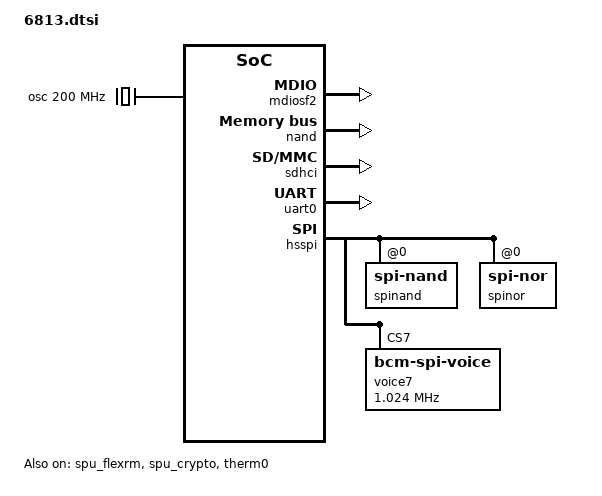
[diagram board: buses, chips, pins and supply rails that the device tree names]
/dts-v1/;

#include "linux_autoconf.h"

/* bootstrap reserved memory */
#include "../boot_rsvdmem.dtsi"


/ {
	/* arch */
	#define PMU_CORE0_SPI	7
	#define PMU_CORE1_SPI	8
	#define PMU_CORE2_SPI	9
	#define PMU_CORE3_SPI	10
	#include "../ip/bcm_b53_quad.dtsi"

	/* clocks */
	#define PERIPH_CLK		200000000
	#define HS_SPI_PLL_CLK	200000000
	#include "../ip/bcm_clocks.dtsi"

	/* broadcom memory reservations */
	#include "../bcm_rsvdmem.dtsi"

	/* memc */
	memory_controller {
		#define BP_DDR_6813_DEFAULT	BP_DDR_SSC_CONFIG_1

		#define MEMC_REG_NAMES	"memc-int-clear-reg",	\
					"memc-int-mask-clear-reg",\
					"phyctl_idle_pad_ctl",	\
					"phyctl_idle_pad_en0",	\
					"phyctl_idle_pad_en1",	\
					"phybl0_idle_pad_ctl",	\
					"phybl1_idle_pad_ctl",	\
					"phybl0_clock_idle",	\
					"phybl1_clock_idle",	\
					"auto_self_refresh",	\
					"glb_gcfg"

		#define MEMC_REG	<0 0x80040E28 0 4>,	\
					<0 0x80040E34 0 4>,	\
					<0 0x80060200 0 4>,	\
					<0 0x80060204 0 4>,	\
					<0 0x80060208 0 4>,	\
					<0 0x8006071c 0 4>,	\
					<0 0x8006091c 0 4>,	\
					<0 0x8006073c 0 4>,	\
					<0 0x8006093c 0 4>,	\
					<0 0x8004000c 0 4>,	\
					<0 0x80040008 0 4>

		#define MEMC_CPU_INT_LINE		19

		#include "../ip/memc.dtsi"
	};

	aliases {
		serial0 = &uart0;
		serial3 = &uart3;
		spi1 = &hsspi; /* 0 = legacy, 1 = high speed */
		spinand0 = &spinand;
		spinor0 = &spinor;		
		nand0 = &nand;
		hs_serial0 = &hs_uart0;
	};

	chosen {
		stdout-path = "serial0:115200n8";
		/* increase coherent_pool size */
		bootargs = "coherent_pool=4M cpuidle_sysfs_switch pci=pcie_bus_safe console=ttyAMA0,115200  rootwait rng_core.default_quality=1024";
	};

	/* wan type auto detect */
	wantype_detect {
		#define GPON_GENERAL_CONFIG_ADDR    0x0 0x828E1000
		#define GPON_GENERAL_CONFIG_SIZE    0x0 0x10
		#define EPON_TOP_ADDR               0x0 0x828C0000
		#define EPON_TOP_SIZE               0x0 0x1C
		#define EPON_LIF_ADDR               0x0 0x828C1800
		#define EPON_LIF_SIZE               0x0 0x110
		#define EPON_XPCSR_ADDR	            0x0 0x828C3000
		#define EPON_XPCSR_SIZE	            0x0 0x124
		#define NGPON_RXGEN_ADDR            0x0 0x828E4000
		#define NGPON_RXGEN_SIZE            0x0 0x80
		#include "../ip/bcm_wantype_detect.dtsi"
	};

	misc_io {
		compatible = "brcm,misc-io";
		misc-periph-int-ctrl = <0x0 0xFF80260C 0x0 0x4>;
		sdio-emmc-clk-sel-mask = <0x00010000>;
		misc-emmc-cktap-ctrl = <0x0 0xFF80264C 0x0 0x18>;

		misc-periph-chip-id-rev = <0x0 0xff800000 0x0 0x4>;
		misc-periph-chip-id-mask = <0xfffff000>;
		misc-periph-chip-id-shift = <12>;
		misc-periph-chip-rev-mask = <0xfff>;
	};

	/* PMC */
	pmc: pmc {
		#define PMC_REG_OFFSET              0x0 0xffb01018
		#define PMC_REG_SIZE                0x0 0x5080
		#define PROCMON_REG_OFFSET          0x0 0xffb20000
		#define PROCMON_REG_SIZE            0x0 0x240
		#define MAESTRO_REG_OFFSET          0x0 0xffb00400
		#define MAESTRO_REG_SIZE            0x0 0x5d0
		#define MAESTRO_DTCM_REG_OFFSET     0x0 0xffb80000
		#define MAESTRO_DTCM_REG_SIZE       0x0 0x1000
		#define MAESTRO_ITCM_REG_OFFSET     0x0 0xffbc0000
		#define MAESTRO_ITCM_REG_SIZE       0x0 0x4000
		#include "../ip/bcm_pmc_3_2.dtsi"
		interrupt-names = "pmc-temp-irq";
		interrupts = <GIC_SPI 29 IRQ_TYPE_LEVEL_HIGH>;
	};

	cci: cci {
		#define CCI_OFFSET					0x0 0x81100000
		#define CCI_SIZE					0x0 0x8000
		#define SLAVEINTF_CPU_NUM			1
		#include "../ip/bcm_arm_cci500.dtsi"
	};

#if defined(CONFIG_BCM_PCIE_HCD) || defined(CONFIG_BCM_PCIE_HCD_MODULE)
		/* pcie 1 & 3 share same clock */
		#define PCIEC_PLLCLKID      0x1210
		/* PCIe#1 GEN3 port (includes G3 PLL registers) */
		#define PCIE1_REG_SIZE      0xB000

	/* pcie common */
	pcie: pciec {
		compatible = "brcm,bcm-pcie";
		device_type = "cpci";

		brcm,pllclkid = <PCIEC_PLLCLKID>;
	};

	/* pcie core 0 */
	pcie0: pcie@0 {
		#define PCIE_ID				0
		#define PCIE_SPI			68
		#define PCIE_ADDR			0x80080000
		#define PCIE_SIZE			0x0000A000
		#define PCIE_RANGE_ADDR		0xC0000000
		#define PCIE_RANGE_SIZE		0x10000000
		#include "../ip/bcm_pcie_core.dtsi"
	};
	/* pcie core 1 */
	pcie1: pcie@1 {
		#define PCIE_ID				1
		#define PCIE_SPI			69
		#define PCIE_ADDR			0x80090000
		#define PCIE_SIZE			PCIE1_REG_SIZE
		#define PCIE_RANGE_ADDR		0xD0000000
		#define PCIE_RANGE_SIZE		0x10000000
		#include "../ip/bcm_pcie_core.dtsi"
	};
	/* pcie core 2 */
	pcie2: pcie@2 {
		#define PCIE_ID				2
		#define PCIE_SPI			70
		#define PCIE_ADDR			0x800A0000
		#define PCIE_SIZE			0x0000A000
		#define PCIE_RANGE_ADDR		0xE0000000
		#define PCIE_RANGE_SIZE		0x10000000
		#include "../ip/bcm_pcie_core.dtsi"
	};
	/* pcie core 3 */
	pcie3: pcie@3 {
		#define PCIE_ID				3
		#define PCIE_SPI			71
		#define PCIE_ADDR			0x800B0000
		#define PCIE_SIZE			0x0000B000
		#define PCIE_RANGE_ADDR		0xA0000000
		#define PCIE_RANGE_SIZE		0x20000000
		#include "../ip/bcm_pcie_core.dtsi"
		brcm,strap-pcie-rc-mode=<6 1>;
	};
#endif /* defined(CONFIG_BCM_PCIE_HCD) || defined(CONFIG_BCM_PCIE_HCD_MODULE) */

#if (defined(CONFIG_BCM_FLEXRM) || defined(CONFIG_BCM_FLEXRM_MODULE)) && \
    (defined(CONFIG_BCM_SPU) || defined(CONFIG_BCM_SPU_MODULE))
	/* spu */
	#define SPU_DMA_ADDR			0x00000000 0x83800000
	#define SPU_DMA_SIZE			0x00000000 0x400000
	#define SPU_DMA_NUM_CHAN		4
	#define SPU_DMA_NUM_AE			2
	#define SPU_CRYPTO_ADDR			0x00000000 0x83800000
	#define SPU_CRYPTO_SIZE			0x00000000 0x400000
	#define SPU_GMAC_SPI			58
	#include "../ip/bcm_spu.dtsi"
#endif

	/* usb */
	usb_ctrl: usb_ctrl {
		#define USB_CTRL_ADDR       0x0 0x800CF200
		#define USB_CTRL_SIZE       0x0 0x128
		#include "../ip/bcm_usb_ctrl.dtsi"
	};

	usb0_xhci: usb0_xhci {
		#define USB_ADDR            0x0 0x800C0000
		#define USB_SIZE            0x0 0x484
		#define GBL_ADDR            0x0 0x800CC100
		#define GBL_SIZE            0x0 0x544
		#define USB_IRQ             73
		#include "../ip/bcm_usb_xhci.dtsi"
		xhci-no-companion;
	};

	serdes {
		compatible = "brcm,serdes1";
		reg = <0x0 0x837ff500 0x0 0x300>;
	};

	swblks {
		compatible = "brcm,swblks";
		reg-names = "bcast-ctrl",
					"qphy-ctrl";

		reg = 	<0 0x837ff000 0 0x4>,
				<0 0x837ff014 0 0x4>;
		phy_base = <0x1>;
	};

	xport {
		compatible = "brcm,xport";
		reg = <0x0 0x837f0000 0x0 0x8000>,  /* XPORT base */
			<0x0 0x828b2000 0x0 0x1000>,  /* XLIF base */
			<0x0 0x837ff1f8 0x0 0x0004>;  /* XPORT0_CLK_CTRL */
	};

	unimac {
		compatible = "brcm,unimac3";
		reg = <0x0 0x828a8000 0x0 0x5000>,
		      <0x0 0x828b0000 0x0 0x1400>;
		conf_offset = <0x1000>;
		mib_offset = <0x400>;
		top_offset = <0x400>;
	};

	xlmac {
		compatible = "brcm,xlmac1";
		reg = <0x0 0x828b2000 0x0 0x0680>,  /* XLMAC_BASE */
		      <0x0 0x82890000 0x0 0x6b88>;  /* BBH_TX_BASE */
		xlmac_offset = <0x200>;
		bbh_tx_offset = <0x2000>;
	};

	ethphytop:ethphytop {
		compatible = "brcm,eth-phy-top";
		reg = <0x0 0x837ff000 0x0 0x1000>;
		xphy0-addr = <0x9>;
		status = "disabled";
	};

	egphy {
		compatible = "brcm,egphy";
		reg = <0x0 0x837FF00C 0x0 0x20>;
	};

	mdiosf2 {
		compatible = "brcm,mdio-sf2";
		reg = <0x0 0x837FFD00 0x0 0x10>,
		      <0x0 0xff85a024 0x0 0x4>;
	};

	mpm {
		#define MPM_REG_OFFSET	0x80020000
		#define MPM_REG_SIZE	0x4000
		#include "../ip/bcm_mpm.dtsi"
	};

	mpcs:mpcs{
		compatible = "brcm,mpcs";
		reg = <0x0 0x828C4000 0x0 0x100>;
	};

	gpon_drv {
		compatible = "brcm,gpon-drv";
		reg = <0x0 0x828E0000  0x0 0x4000>;
                interrupts = <GIC_SPI 141 IRQ_TYPE_LEVEL_HIGH>, /* INTERRUPT_WAN_GPON_RX */
                             <GIC_SPI 140 IRQ_TYPE_LEVEL_HIGH>; /* INTERRUPT_WAN_GPON_TX */
                interrupt-names = "gpon_rx", "gpon_tx";
	};
	ngpon_drv {
		compatible = "brcm,ngpon-drv";
		reg = <0x0 0x828E4000 0x0 0x1c000>;
                interrupts = <GIC_SPI 129  IRQ_TYPE_LEVEL_HIGH>, /* INTERRUPT_WAN_XGRX */
                             <GIC_SPI 133  IRQ_TYPE_LEVEL_HIGH>, /* INTERRUPT_WAN_XGTX_INTR0 */
                             <GIC_SPI 132  IRQ_TYPE_LEVEL_HIGH>, /* INTERRUPT_WAN_XGTX_INTR1 */
                             <GIC_SPI 131  IRQ_TYPE_LEVEL_HIGH>; /* INTERRUPT_WAN_XGTX_INTR2 */
                interrupt-names = "ngpon_rx", "ngpon_tx0", "ngpon_tx1", "ngpon_tx2";
	};
	wan_serdes {
		compatible = "brcm,pon-drv";
		status = "disabled";
		reg = <0x0 0x828C4000 0x0 0x1c000>;
	};
	epon_drv {
		compatible = "brcm,epon-drv";
		reg = <0x0 0x828C0000 0x0 0x4000>;
	};

	rdpa_drv {
		compatible = "brcm,rdpa";
		reg = <0x0 0x82000000 0x0 0xCAF004>;
                interrupts = <GIC_SPI 107 IRQ_TYPE_LEVEL_HIGH>, /* INTERRUPT_XRDP_FPM */
                             <GIC_SPI 75  IRQ_TYPE_LEVEL_HIGH>, /* INTERRUPT_XRDP_QUEUE_0 */
                             <GIC_SPI 76  IRQ_TYPE_LEVEL_HIGH>, /* INTERRUPT_XRDP_QUEUE_1 */
                             <GIC_SPI 77  IRQ_TYPE_LEVEL_HIGH>, /* INTERRUPT_XRDP_QUEUE_2 */
                             <GIC_SPI 78  IRQ_TYPE_LEVEL_HIGH>, /* INTERRUPT_XRDP_QUEUE_3 */
                             <GIC_SPI 79  IRQ_TYPE_LEVEL_HIGH>, /* INTERRUPT_XRDP_QUEUE_4 */
                             <GIC_SPI 80  IRQ_TYPE_LEVEL_HIGH>, /* INTERRUPT_XRDP_QUEUE_5 */
                             <GIC_SPI 81  IRQ_TYPE_LEVEL_HIGH>, /* INTERRUPT_XRDP_QUEUE_6 */
                             <GIC_SPI 82  IRQ_TYPE_LEVEL_HIGH>, /* INTERRUPT_XRDP_QUEUE_7 */
                             <GIC_SPI 83  IRQ_TYPE_LEVEL_HIGH>, /* INTERRUPT_XRDP_QUEUE_8 */
                             <GIC_SPI 84  IRQ_TYPE_LEVEL_HIGH>, /* INTERRUPT_XRDP_QUEUE_9 */
                             <GIC_SPI 85  IRQ_TYPE_LEVEL_HIGH>, /* INTERRUPT_XRDP_QUEUE_10 */
                             <GIC_SPI 86  IRQ_TYPE_LEVEL_HIGH>, /* INTERRUPT_XRDP_QUEUE_11 */
                             <GIC_SPI 87  IRQ_TYPE_LEVEL_HIGH>, /* INTERRUPT_XRDP_QUEUE_12 */
                             <GIC_SPI 88  IRQ_TYPE_LEVEL_HIGH>, /* INTERRUPT_XRDP_QUEUE_13 */
                             <GIC_SPI 89  IRQ_TYPE_LEVEL_HIGH>, /* INTERRUPT_XRDP_QUEUE_14 */
                             <GIC_SPI 90  IRQ_TYPE_LEVEL_HIGH>, /* INTERRUPT_XRDP_QUEUE_15 */
                             <GIC_SPI 91  IRQ_TYPE_LEVEL_HIGH>, /* INTERRUPT_XRDP_QUEUE_16 */
                             <GIC_SPI 92  IRQ_TYPE_LEVEL_HIGH>, /* INTERRUPT_XRDP_QUEUE_17 */
                             <GIC_SPI 93  IRQ_TYPE_LEVEL_HIGH>, /* INTERRUPT_XRDP_QUEUE_18 */
                             <GIC_SPI 94  IRQ_TYPE_LEVEL_HIGH>, /* INTERRUPT_XRDP_QUEUE_19 */
                             <GIC_SPI 95  IRQ_TYPE_LEVEL_HIGH>, /* INTERRUPT_XRDP_QUEUE_20 */
                             <GIC_SPI 96  IRQ_TYPE_LEVEL_HIGH>, /* INTERRUPT_XRDP_QUEUE_21 */
                             <GIC_SPI 97  IRQ_TYPE_LEVEL_HIGH>, /* INTERRUPT_XRDP_QUEUE_22 */
                             <GIC_SPI 98  IRQ_TYPE_LEVEL_HIGH>, /* INTERRUPT_XRDP_QUEUE_23 */
                             <GIC_SPI 99  IRQ_TYPE_LEVEL_HIGH>, /* INTERRUPT_XRDP_QUEUE_24 */
                             <GIC_SPI 100 IRQ_TYPE_LEVEL_HIGH>, /* INTERRUPT_XRDP_QUEUE_25 */
                             <GIC_SPI 101 IRQ_TYPE_LEVEL_HIGH>, /* INTERRUPT_XRDP_QUEUE_26 */
                             <GIC_SPI 102 IRQ_TYPE_LEVEL_HIGH>, /* INTERRUPT_XRDP_QUEUE_27 */
                             <GIC_SPI 103 IRQ_TYPE_LEVEL_HIGH>, /* INTERRUPT_XRDP_QUEUE_28 */
                             <GIC_SPI 104 IRQ_TYPE_LEVEL_HIGH>, /* INTERRUPT_XRDP_QUEUE_29 */
                             <GIC_SPI 105 IRQ_TYPE_LEVEL_HIGH>, /* INTERRUPT_XRDP_QUEUE_30 */
                             <GIC_SPI 106 IRQ_TYPE_LEVEL_HIGH>; /* INTERRUPT_XRDP_QUEUE_31 */
                interrupt-names = "fpm", "queue0", "queue1", "queue2", "queue3", "queue4", "queue5",
                             "queue6", "queue7", "queue8", "queue9", "queue10", "queue11", 
                             "queue12", "queue13", "queue14", "queue15", "queue16", "queue17",
                             "queue18", "queue19", "queue20", "queue21", "queue22", "queue23",
                             "queue24", "queue25", "queue26", "queue27", "queue28", "queue29",
                             "queue30", "queue31";
	};

	xrdp {
		compatible = "simple-bus";
		#address-cells = <2>;
		#size-cells = <2>;
		ranges = <0x0 0x0 0x0 0x82000000 0x0 0xcd0000
			  0x1 0x0 0x0 0xff800000 0x0 0x62000>;

		mdio: mdio {
			compatible = "simple-bus";
			bus-type = "DSL_ETHSW";

			#address-cells = <1>;
			#size-cells = <0>;

			/* Port PHY mapping:
			 * port_gphy0 <----> phy_gphy0
			 * port_gphy1 <----> phy_gphy1
			 * port_gphy2 <----> phy_gphy2
			 * port_gphy3 <----> phy_gphy3
			 * port_xphy <-----> phy_xphy
			 * port_sgmii1 <---> phy_serdes0   - phy_cascade0
			 * port_sgmii2 <---> phy_serdes1   - phy_cascade1
			 * port_sgmii2_1 <-> phy_serdes1_1 - phy_cascade1_1
			 * port_sgmii2_2 <-> phy_serdes1_2 - phy_cascade1_2
			 * port_sgmii2_3 <-> phy_serdes1_3 - phy_cascade1_3
			 */
			phy_gphy0:phy_gphy0 {
				compatible = "brcm,bcaphy";
				phy-type = "EGPHY";
				reg = <1>;
				status = "disabled";
			};

			phy_gphy1:phy_gphy1 {
				compatible = "brcm,bcaphy";
				phy-type = "EGPHY";
				reg = <2>;
				status = "disabled";
			};

			phy_gphy2:phy_gphy2 {
				compatible = "brcm,bcaphy";
				phy-type = "EGPHY";
				reg = <3>;
				status = "disabled";
			};

			phy_gphy3:phy_gphy3 {
				compatible = "brcm,bcaphy";
				phy-type = "EGPHY";
				reg = <4>;
				status = "disabled";
			};


			phy_xphy:phy_xphy {
				compatible = "brcm,bcaphy";
				phy-type = "EXT3";
				reg = <9>;
				status = "disabled";

				pinctrl-names = "default";
				pinctrl-0 = <&a_mdc_pin_54 &a_mdio_pin_55>;
			};

			phy_cascade0:phy_cascade0 {
				compatible = "brcm,bcaphy";
				phy-type = "EXT3";
				reg = <21>;
				status = "disabled";
				phy-external;
			};

			phy_serdes0:phy_serdes0 {
				compatible = "brcm,bcaphy";
				phy-type = "10GAE";
				reg = <7>;
				serdes-core = <0>;
				serdes-lane = <0>;
				status = "disabled";
			};

			phy_cascade1:phy_cascade1 {
				compatible = "brcm,bcaphy";
				phy-type = "EXT3";
				mphy-index = <0>;
				reg = <12>;
				status = "disabled";
				phy-external;
			};

			phy_cascade1_1:phy_cascade1_1 {
				compatible = "brcm,bcaphy";
				phy-type = "EXT3";
				mphy-index = <1>;
				reg = <13>;
				status = "disabled";
				phy-external;
			};

			phy_cascade1_2:phy_cascade1_2 {
				compatible = "brcm,bcaphy";
				phy-type = "EXT3";
				mphy-index = <2>;
				reg = <14>;
				status = "disabled";
				phy-external;
			};

			phy_cascade1_3:phy_cascade1_3 {
				compatible = "brcm,bcaphy";
				phy-type = "EXT3";
				mphy-index = <3>;
				reg = <15>;
				status = "disabled";
				phy-external;
			};

			phy_serdes1:phy_serdes1 {
				compatible = "brcm,bcaphy";
				phy-type = "10GAE";
				reg = <8>;
				mphy-index = <0>;
				serdes-core = <1>;
				serdes-lane = <0>;
				status = "disabled";
			};

			phy_serdes1_1:phy_serdes1_1 {
				compatible = "brcm,bcaphy";
				phy-type = "10GAE";
				mphy-index = <1>;
				reg = <0x108>;          /* virtual addr mphy base 8 instance 1 */
				serdes-core = <1>;
				serdes-lane = <0>;
				status = "disabled";
			};

			phy_serdes1_2:phy_serdes1_2 {
				compatible = "brcm,bcaphy";
				phy-type = "10GAE";
				mphy-index = <2>;
				reg = <0x208>;          /* virtual addr mphy base 8 instance 2 */
				serdes-core = <1>;
				serdes-lane = <0>;
				status = "disabled";
			};

			phy_serdes1_3:phy_serdes1_3 {
				compatible = "brcm,bcaphy";
				phy-type = "10GAE";
				mphy-index = <3>;
				reg = <0x308>;          /* virtual addr mphy base 8 instance 3 */
				serdes-core = <1>;
				serdes-lane = <0>;
				status = "disabled";
			};
		};

		wan_serdes_bus {
			compatible = "simple-bus";

			#address-cells = <1>;
			#size-cells = <0>;

			phy_wan_serdes: phy_wan_serdes {
				compatible = "brcm,bcaphy";
				phy-type = "PON";
				reg = <0>;
				status = "disabled";
			};

			wan_ae:wan_ae {
				compatible = "brcm,bcaphy";
				phy-type = "AE";
				reg = <0x1>;
				status = "disabled";
			};
		};

		switch0: switch0 {
		};
	};

	/* UBUS */
	ubus: ubus {
		compatible = "simple-bus";
		#address-cells = <2>;
		#size-cells = <2>;
		ranges;

		ubus_sys: ubus_sys {
			#address-cells = <2>;
			#size-cells = <2>;
			#define UBUS_SYSTOP_OFFSET         0x0 0x83000000
			#define UBUS_SYSTOP_SIZE           0x0 0x80
			#define UBUS_REGISTRATION_OFFSET   0x0 0x83000200
			#define UBUS_REGISTRATION_SIZE     0x0 0x80
			#define UBUS_COHERENCY_PORT_OFFSET 0x0 0x810A0400
			#define UBUS_COHERENCY_PORT_SIZE   0x0 0x400
			#define UBUS_MODULE_XRDP           0x0
			#include "../ip/bcm_ubus4.dtsi"
			ubus_mst_sys: ubus_mst {
				reg-names = "BIU", "PER", "USB", "SPU",
					"PCIE0", "PCIE1", "PCIE2", "PCIE3",
					"DMA0", "DMA1", "DMA2", "RQ0",
					"RQ1", "QM", "MPM";
				reg = <0x0 0x83020000 0x0 0x4000>,
					<0x0 0x83010000 0x0 0x4000>,
					<0x0 0x83018000 0x0 0x4000>,
					<0x0 0x83028000 0x0 0x4000>,
					<0x0 0x83030000 0x0 0x4000>,
					<0x0 0x83038000 0x0 0x4000>,
					<0x0 0x83040000 0x0 0x4000>,
					<0x0 0x83048000 0x0 0x4000>,
					<0x0 0x83058000 0x0 0x4000>,
					<0x0 0x83060000 0x0 0x4000>,
					<0x0 0x83070000 0x0 0x4000>,
					<0x0 0x83078000 0x0 0x4000>,
					<0x0 0x83080000 0x0 0x4000>,
					<0x0 0x83050000 0x0 0x4000>,
					<0x0 0x83088000 0x0 0x4000>;
			};
		};

		ubus_dcm_sys: ubus_dcm_sys {
			#define UBUS_DCM_CLK_OFFSET  0x0 0x83000080
			#define UBUS_DCM_CLK_SIZE    0x0 0x80
			#define UBUS_MODULE_XRDP     0x0
			#include "../ip/bcm_ubus4_dcm.dtsi"
		};
	};

	/* Legacy UBUS base */
	periph {
		compatible = "simple-bus";
		#address-cells = <2>;
		#size-cells = <2>;
		ranges = <0x0 0x0 0x0 0xff800000 0x0 0x62000>;

		/* boot state */
		boot_state: boot_state {
			#define RESET_REASON_OFFSET	0x0 0x2628
			#define RESET_REASON_SIZE	0x0 0x4
			#define RESET_STATUS_OFFSET	0x0 0x5a01c
			#define RESET_STATUS_SIZE	0x0 0x4
			#include "../ip/bcm_boot_state_v2.dtsi"
		};

		nand: nand {
			pinctrl-0 = <&nand_data_pins &nand_ctrl_pins>;
			pinctrl-names = "default";	
			#define NAND_CTRL_OFFSET		0x0 0x1800
			#define NAND_CTRL_SIZE			0x0 0x400
			#define NAND_INTR_OFFSET		0x0 0x2000
			#define NAND_INTR_SIZE			0x0 0x10
			#define NAND_CACHE_OFFSET		0x0 0x1C00
			#define NAND_CACHE_SIZE			0x0 0x200
			#include "../ip/bcm_nand7_1.dtsi"
		};

		/* EMMC */
		sdhci: sdhci {
			pinctrl-0 = <&emmc_ctrl_pins>;
			pinctrl-names="default";
			#define SDHCI_OFFSET			0x00000000 0x10000
			#define SDHCI_SIZE			0x00000000 0x100
			#define SDHCI_TOPCFG_OFFSET		0x00000000 0x10100
			#define SDHCI_TOPCFG_SIZE		0x00000000 0x100
			#define SDHCI_BOOT_OFFSET		0x00000000 0x10200
			#define SDHCI_BOOT_SIZE			0x00000000 0x40
			#define SDHCI_AHBSS_CTRL_OFFSET		0x00000000 0x10300
			#define SDHCI_AHBSS_CTRL_SIZE		0x00000000 0x100
			#define SDHCI_HS200_BASE_CLOCK_FREQ	180000000
			#define SDIO_EMMC_SPI			38
			#include "../ip/bcm_sdhci.dtsi"
			mmc-ddr-3_3v;
			sdhci-pll-baseclk-mhz = <4400>;
			sdhci-pll-valid-op-mhz = <100 110 160 176 200>;
		};

		rng: rng {
			#define RNG200_OFFSET                   0x00000000 0xb80
			#define RNG200_SIZE                     0x00000000 0x30
			#include "../ip/bcm_rng200.dtsi"
		};

		trng: trng {
			#define TRNG_OFFSET                   0x00000000 0x3800
			#define TRNG_SIZE                     0x00000000 0x0800
			#include "../ip/bcm_trng.dtsi"
			status = "disabled";
		};

		strap: strap {
			#define STRAP_REG_OFFSET            0x0 0x2600
			#define STRAP_REG_SIZE              0x0 0x4
			#include "../ip/bcm_strap.dtsi"
			boot-select-0=<0 1>;
			boot-select-1=<1 1>;
			boot-select-2=<2 1>;
			boot-select-3=<3 1>;
			boot-select-4=<4 1>;
			boot-select-5=<5 1>;
			bootrom-boot=<12 1>;
			strap-cpu-slow-freq=<16 1>;
			strap-vco-clock = <13 2>;
		};

		otp: otp {
			#define OTP_REG_OFFSET            0x0 0x2800
			#define OTP_REG_SIZE              0x0 0x64
			#include "../ip/bcm_otp.dtsi"
		};

		dying_gasp: dying_gasp {
			#define DG_PERIPH_REG_OFFSET	0x0 0x5A004
			#define DG_PERIPH_REG_SIZE	0x0 0x4
			#define DG_UART_DR_OFFSET	0x0 0x12000
			#define DG_UART_DR_SIZE		0x0 0x4
			dg-get-otp-trim = <0x1>;
			dg-get-otp-hys = <0x1>;
			#include "../ip/bcm_dgasp_periph.dtsi"
			interrupts = <GIC_SPI 28 IRQ_TYPE_LEVEL_HIGH>;
		};

		/* pinctrl */
		pincontroller: pinctrl {
			#define PINCTRL_OFFSET       0x0 0x554
			#define PINCTRL_SIZE         0x0 0xc
			#define PINCTRL_NUM_PINS     80
			#define PINCTRL_NUM_FUNC     6
			#define PINCTRL_GPIO_FUNC    4
			#include "../ip/bcm_bca_pinctrl.dtsi"
			#include "6813_pinctrl.dtsi"
		};

		/* gpio */
		gpioc: gpioc {
			#define GPIO_DIR_OFFSET      0x0 0x500
			#define GPIO_DIR_SIZE        0x0 0x20
			#define GPIO_DATA_OFFSET     0x0 0x520
			#define GPIO_DATA_SIZE       0x0 0x20
			#define NUM_OF_GPIOS         80
			#include "../ip/bcm_bca_gpio.dtsi"
		};

		/* external interrups */
		bca_extintr: bca_extintr0 {
			#define EXTINTR_OFFSET       0x0 0x4
			#define EXTINTR_SIZE         0x0 0x48
			#define MAX_EXT_INTR         8
			#include "../ip/bcm_bca_extintr.dtsi"
			external_interrupts = <47 48 49 50 51 52 53 54>;
		};

		uart0: serial0 {
			#define UART_OFFSET			0x0 0x12000
			#define UART_SIZE			0x0 0x1000
			#define UART_SPI			32
			#define UART_CLK_LABEL			refclk50mhz
			#define UART_CLK			50000000
			#include "../ip/bcm_arm_uart.dtsi"
		};
		uart3: serial3 {
			#define UART_OFFSET			0x0 0x15000
			#define UART_SIZE			0x0 0x1000
			#define UART_SPI			33
			#define UART_CLK_LABEL			refclk50mhz
			#define UART_CLK			50000000
			#include "../ip/bcm_arm_uart.dtsi"
		};
		hs_uart0: hs_serial0 {
			#define UART_OFFSET			0x0 0x10400
			#define UART_SIZE			0x0 0x1E0
			#define UART_SPI 			34
			#include "../ip/bcm_hs_uart.dtsi"
		};

		/* HS SPI */
		hsspi: spi {
			pinctrl-0 = <&spim_group_pins>;
			pinctrl-names = "default";
			#define HS_SPI_OFFSET		0x0 0x1000
			#define HS_SPI_SIZE			0x0 0x600
			#define SPIM_CTRL_OFFSET	0x0 0x2610
			#define SPIM_CTRL_SIZE		0x0 0x4
			#define HS_SPI_MAX_FREQ		100000000
			/* #define HS_SPIM_SPI			36 */
			#include "../ip/bcm_bca_hsspi.dtsi"
			spinand: spi-nand@0 {
				pinctrl-0 = <&hs_spim_ss_0_b_pin_24>;
				pinctrl-names = "default";
				#define SPINAND_MAX_FREQ	100000000
				#include "../ip/bcm_spinand.dtsi"
			};
			spinor: spi-nor@0 {
				pinctrl-0 = <&hs_spim_ss_0_b_pin_24>;
				pinctrl-names = "default";
				#define SPINOR_MAX_FREQ	50000000
				#include "../ip/bcm_spinor.dtsi"
			};
			voice7 {
				pinctrl-0 = <&pcm_sdin_pin_8 &pcm_sdout_pin_9 &pcm_clk_pin_10 &pcm_fs_pin_11>;
				pinctrl-names = "default";
				compatible = "bcm-spi-voice";
				reg = <7>; /* chip select 7 */
				spi-index = <7>;/* ZSI/ISI header position index */
				spi-max-frequency = <1024000>;
			};
		};

		bcm63xx-apm-pcm {
			compatible = "brcm,bcm63xx-apm-pcm";
			reg = <0x0 0x60000 0x0 0x1c60>;
			interrupts = <GIC_SPI 41 IRQ_TYPE_LEVEL_HIGH>;
		};

		i2c0: i2c0 {
			#define I2C_OFFSET			0x0 0x2100
			#define I2C_SIZE			0x0 0x60
			#include "../ip/bcm_i2c_bus.dtsi"
		};

		i2c1: i2c1 {
			#define I2C_OFFSET			0x0 0x5a800
			#define I2C_SIZE			0x0 0x60
			#include "../ip/bcm_i2c_bus.dtsi"
		};

		i2c2: i2c2 {
			#define I2C_OFFSET			0x0 0x5ac00
			#define I2C_SIZE			0x0 0x60
			#include "../ip/bcm_i2c_bus.dtsi"
		};

		/* periph timers */
		timers: timers {
			#define TIMERS_OFFSET		0x0 0x400
			#define TIMERS__SIZE		0x0 0x48
			#define TIMER0_SPI			11
			#define TIMER1_SPI			12
			#define TIMER2_SPI			13
			#define TIMER3_SPI			14
			#include "../ip/bcm_timer.dtsi"
		};

		/* watchdog */
		wdt: watchdog {
			#define WATCHDOG_OFFSET			0x0 0x480
			#define WATCHDOG_SIZE			0x0 0x10
			#define WATCHDOG_TIMEOUT		80
			#include "../ip/bcm_wdt.dtsi"
			interrupts = <GIC_SPI 16 IRQ_TYPE_LEVEL_HIGH>;
		};

		/* watchdog reboot */
		wdt-reboot {
			compatible = "wdt-reboot";
			wdt = <&wdt>;
		};

		/* Led Controller */
		led_ctrl: led_ctrl {
			#define CLED_GLBL_CTRL_OFFSET           0x0 0x3000
			#define CLED_GLBL_CTRL_SIZE             0x0 0x4
			#define CLED_HW_EN_OFFSET               0x0 0x3004
			#define CLED_HW_EN_SIZE                 0x0 0x4
			#define CLED_SER_SHIFT_OFFSET           0x0 0x3008
			#define CLED_SER_SHIFT_SIZE             0x0 0x4
			#define CLED_HW_POLARITY_OFFSET         0x0 0x300c
			#define CLED_HW_POLARITY_SIZE           0x0 0x4
			#define CLED_SW_SET_OFFSET              0x0 0x3010
			#define CLED_SW_SET_SIZE                0x0 0x4
			#define CLED_SW_POLARITY_OFFSET         0x0 0x3014
			#define CLED_SW_POLARITY_SIZE           0x0 0x4
			#define CLED_CH_ACTIVATE_OFFSET         0x0 0x301c
			#define CLED_CH_ACTIVATE_SIZE           0x0 0x4
			#define CLED_XX_CONFIG_OFFSET           0x0 0x3020
			#define CLED_XX_CONFIG_SIZE             0x0 0x200
			#define CLED_SW_CLEAR_OFFSET            0x0 0x3444
			#define CLED_SW_CLEAR_SIZE              0x0 0x4
			#define CLED_SW_STATUS_OFFSET           0x0 0x3448
			#define CLED_SW_STATUS_SIZE             0x0 0x4
			#define CLED_OUT_MUX_OFFSET             0x0 0x3460
			#define CLED_OUT_MUX_SIZE               0x0 0x20
			#define CLED_SERIAL_POLARITY_OFFSET     0x0 0x3454
			#define CLED_SERIAL_POLARITY_SIZE       0x0 0x4
			#define CLED_PARALLEL_POLARITY_OFFSET   0x0 0x3018
			#define CLED_PARALLEL_POLARITY_SIZE     0x0 0x4
			#define MAX_SUPPORTED_LEDS              64

			status = "okay";
			#include "../ip/bcm_cled_v2_ctrl.dtsi"
			#include "6813_leds.dtsi"
		};

		/* sotp */
		sotp {
			#define SOTP_OFFSET			0x0 0x5000
			#define SOTP_SIZE			0x0 0x500
			#include "../ip/bcm_sotp_skp.dtsi"
		};
	};

	legacy_leds: legacy_leds {
		compatible = "brcm,legacy-led";
	};

	vreg_sync: vreg_sync {
		compatible = "brcm,vreg-sync";
	};

	therm0: brcm-therm {
		compatible = "brcm,therm";
		reg-names="bac_cpu_therm_temp";
		reg = <0 0x8106037c 0 0x04>;
		status = "okay";
	};

	ephyled {
		compatible = "brcm,ephy-led";
			led_reg_max = <11>;
			reg-names = "aggregate_ctrl", "led_reg_0", "led_reg_1", "led_reg_2", \
				"led_reg_3", "led_reg_4", "led_reg_5", "led_reg_6", "led_reg_7", \
				"led_reg_8", "led_reg_9", "led_reg_10";
			reg = <0 0x837FF1AC 0 0x4>, <0 0x837FF108 0 0xc>, <0 0x837FF114 0 0xc>, <0 0x837FF120 0 0xc>, \
				<0 0x837FF12C 0 0xc>, <0 0x837FF138 0 0xc>, <0 0x837FF144 0 0xc>, <0 0x837FF150 0 0xc>, \
				<0 0x837FF15C 0 0xc>, <0 0x837FF168 0 0xc>, <0 0x837FF174 0 0xc>, <0 0x837FF180 0 0xc>;
	};
};

&clocks {
	#address-cells = <0x2>;
	#size-cells = <0x2>;
	i2s_clkmclk_syscon: i2s_clkmclk_syscon@0xFF802080 {
		compatible = "brcm,i2s-audio-clkmclk-syscon", "syscon";
		reg = <0x0 0xFF802080 0x0 0x80>;
	};
	osc: oscillator {
		#clock-cells = <0>;
		compatible = "fixed-clock";
		clock-frequency = <200000000>; /* xpon 200MHz output */
	};
	i2stxclk: i2stxclk@0x80158000 {
		#clock-cells = <0>;
		compatible = "brcm,i2s-tx-clock";
		clocks = <&osc>;
		clk-mclk-syscon        = <&i2s_clkmclk_syscon>;
		clock-tx-output-names  = "i2s_tx_clk";
	};

	i2srxclk: i2srxclk@0x80158000 {
		#clock-cells = <0>;
		compatible = "brcm,i2s-rx-clock";
		clocks = <&osc>;
		clk-mclk-syscon        = <&i2s_clkmclk_syscon>;
		clock-rx-output-names  = "i2s_rx_clk";
	};
};

&nand {
	status = "okay";
};
&uart0 {
	status = "okay";
};
&wdt {
	status = "okay";
};
&sdhci {
	status = "okay";
};
&hsspi {
	status = "okay";
};
&spinand {
	status = "okay";
};
&switch0 {
	compatible = "brcm,enet";
	label = "bcmsw";
	sw-type = "RUNNER_SW";

	ports {
		#address-cells = <1>;
		#size-cells = <0>;

		port_gphy0 {
			reg = <0>;
			mac-type = "UNIMAC";
			phy-handle = <&phy_gphy0>;
			phy-mode = "gmii";
			gmii-direct;
			status = "disabled";
		};

		port_gphy1 {
			reg = <1>;
			mac-type = "UNIMAC";
			phy-handle = <&phy_gphy1>;
			phy-mode = "gmii";
			gmii-direct;
			status = "disabled";
		};

		port_gphy2 {
			reg = <2>;
			mac-type = "UNIMAC";
			phy-handle = <&phy_gphy2>;
			phy-mode = "gmii";
			gmii-direct;
			status = "disabled";
		};

		port_gphy3 {
			reg = <3>;
			mac-type = "UNIMAC";
			phy-handle = <&phy_gphy3>;
			phy-mode = "gmii";
			gmii-direct;
			status = "disabled";
		};

		port_wan@ae {
			reg = <4>;
			mac-type = "XPORT";
			mac-index = <1>;
			phy-handle = <&wan_ae>;
			phy-mode = "xfi";
			detect;
 			is-wanconf-ae;
			status = "disabled";
		};

		port_xphy {
			reg = <5>;
			mac-type = "XPORT";
			mac-index = <0>;
			phy-handle = <&phy_xphy>;
			phy-mode = "serdes";
			status = "disabled";
		};

		port_sgmii1 {
			reg = <6>;
			mac-type = "XPORT";
			mac-index = <2>;
			phy-handle = <&phy_serdes0>;
			phy-mode = "serdes";
			status = "disabled";
		};

		port_sgmii2 {                   /* USXGMII-S or USXGMII-M.0 */
			reg = <7>;
			mac-type = "XPORT";
			mac-index = <4>;
			phy-handle = <&phy_serdes1>;
			phy-mode = "serdes";
			status = "disabled";
		};

		port_sgmii2_1 {                   /* USXGMII-M.1 */
			reg = <8>;
			mac-type = "XPORT";
			mac-index = <5>;
			phy-handle = <&phy_serdes1_1>;
			phy-mode = "serdes";
			status = "disabled";
		};

		port_sgmii2_2 {                   /* USXGMII-M.2 */
			reg = <9>;
			mac-type = "XPORT";
			mac-index = <6>;
			phy-handle = <&phy_serdes1_2>;
			phy-mode = "serdes";
			status = "disabled";
		};

		port_sgmii2_3 {                 /* USXGMII-M.3 */
			reg = <10>;
			mac-type = "XPORT";
			mac-index = <7>;
			phy-handle = <&phy_serdes1_3>;
			phy-mode = "serdes";
			status = "disabled";
		};

        port_wan@fiber {
			reg = <11>;
			phy-handle = <&phy_wan_serdes>;
			phy-mode = "serdes";
			detect;
			is-wan;
 			is-wanconf-mux-pon;
			status = "disabled";
        };
    };
};


#if (defined(CONFIG_BCM_FLEXRM) || defined(CONFIG_BCM_FLEXRM_MODULE)) && \
    (defined(CONFIG_BCM_SPU) || defined(CONFIG_BCM_SPU_MODULE))
&spu_flexrm {
	status = "okay";
	dma-coherent;
};
&spu_crypto {
	brcm,spu_type = <2>;
	status = "okay";
};
#endif


